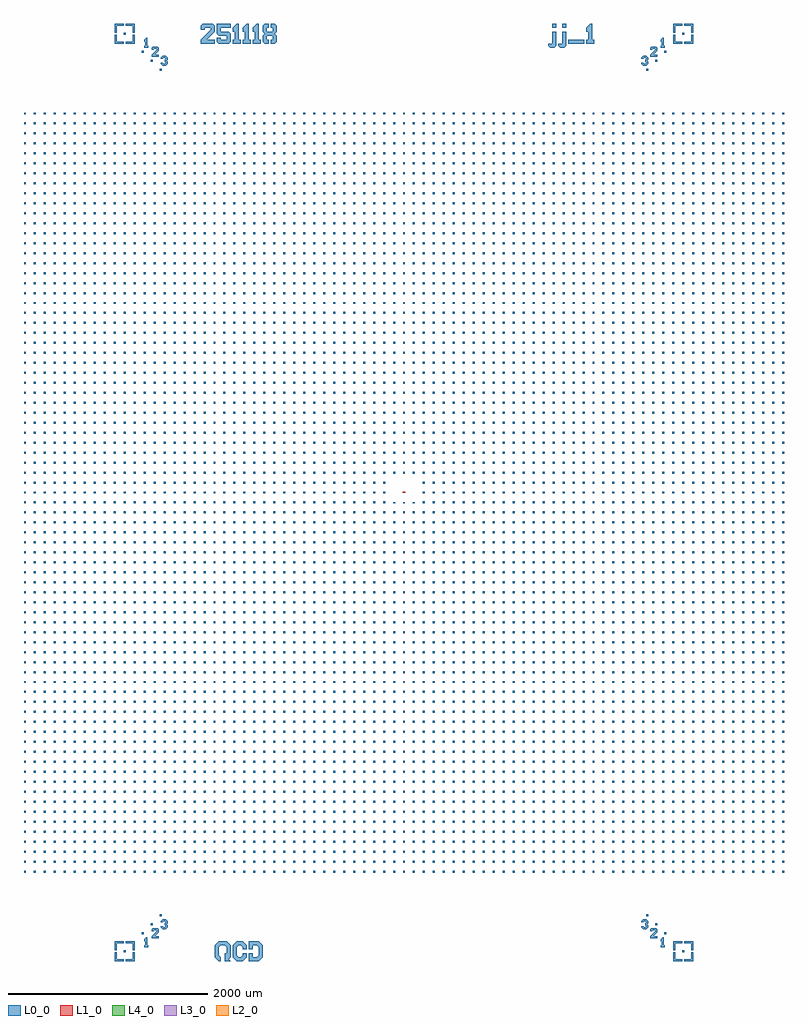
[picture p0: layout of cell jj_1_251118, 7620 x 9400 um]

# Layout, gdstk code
import gdstk
lib = gdstk.Library(unit=1e-6, precision=1e-09)
def R(c, l, rs):  # rectangles x0, y0, x1, y1
    for r in rs: c.add(gdstk.rectangle(r[:2], r[2:], *l))
def A(c, l, x, y, w, h, nx, ny, dx, dy):  # array of equal rectangles
    R(c, l, [(x+i*dx, y+j*dy, x+i*dx+w, y+j*dy+h) for i in range(nx) for j in range(ny)])
def P(c, l, *ps):  # polygons
    for p in ps: c.add(gdstk.Polygon(p, *l))
L0_0 = (0, 0)
L1_0 = (1, 0)
L2_0 = (2, 0)
L3_0 = (3, 0)
L4_0 = (4, 0)

remarks = lib.new_cell('remarks')
R(remarks, L0_0, [(-2810,-4610,-2790,-4590), (2790,-4610,2810,-4590), (-2630,-4430,-2610,-4410), (2610,-4430,2630,-4410), (-2540,-4340,-2520,-4320), (2520,-4340,2540,-4320), (-2450,-4250,-2430,-4230), (2430,-4250,2450,-4230), (-2450,4230,-2430,4250), (2430,4230,2450,4250), (-2540,4320,-2520,4340), (2520,4320,2540,4340), (-2630,4410,-2610,4430), (2610,4410,2630,4430), (1646.667,4500,1806.667,4540), (-2810,4590,-2790,4610), (2790,4590,2810,4610), (1486.667,4660,1526.667,4700), (1586.667,4660,1626.667,4700)])
P(remarks, L0_0, [(1466.667,4460),(1446.667,4480),(1446.667,4500),(1486.667,4500),(1486.667,4620),(1526.667,4620),(1526.667,4480),(1506.667,4460)],
  [(1566.667,4460),(1546.667,4480),(1546.667,4500),(1586.667,4500),(1586.667,4620),(1626.667,4620),(1626.667,4480),(1606.667,4460)],
  [(1826.667,4500),(1826.667,4540),(1846.667,4540),(1846.667,4620),(1826.667,4620),(1826.667,4660),(1866.667,4700),(1886.667,4700),(1886.667,4540),(1906.667,4540),(1906.667,4500)],
  [(-2036.667,4500),(-2036.667,4540),(-1936.667,4640),(-1936.667,4660),(-1996.667,4660),(-1996.667,4640),(-2036.667,4640),(-2036.667,4680),(-2016.667,4700),(-1916.667,4700),(-1896.667,4680),(-1896.667,4620),(-1976.667,4540),(-1896.667,4540),(-1896.667,4500)],
  [(-1856.667,4500),(-1876.667,4520),(-1876.667,4560),(-1836.667,4560),(-1836.667,4540),(-1776.667,4540),(-1776.667,4580),(-1856.667,4580),(-1876.667,4600),(-1876.667,4700),(-1736.667,4700),(-1736.667,4660),(-1836.667,4660),(-1836.667,4620),(-1756.667,4620),(-1736.667,4600),(-1736.667,4520),(-1756.667,4500)],
  [(-1716.667,4500),(-1716.667,4540),(-1696.667,4540),(-1696.667,4620),(-1716.667,4620),(-1716.667,4660),(-1676.667,4700),(-1656.667,4700),(-1656.667,4540),(-1636.667,4540),(-1636.667,4500)],
  [(-1616.667,4500),(-1616.667,4540),(-1596.667,4540),(-1596.667,4620),(-1616.667,4620),(-1616.667,4660),(-1576.667,4700),(-1556.667,4700),(-1556.667,4540),(-1536.667,4540),(-1536.667,4500)],
  [(-1516.667,4500),(-1516.667,4540),(-1496.667,4540),(-1496.667,4620),(-1516.667,4620),(-1516.667,4660),(-1476.667,4700),(-1456.667,4700),(-1456.667,4540),(-1436.667,4540),(-1436.667,4500)],
  [(-1396.667,4500),(-1416.667,4520),(-1416.667,4580),(-1396.667,4600),(-1416.667,4620),(-1416.667,4680),(-1396.667,4700),(-1356.667,4700),(-1356.667,4660),(-1376.667,4660),(-1376.667,4620),(-1316.667,4620),(-1316.667,4660),(-1336.667,4660),(-1336.667,4700),(-1296.667,4700),(-1276.667,4680),(-1276.667,4620),(-1296.667,4600),(-1276.667,4580),(-1276.667,4520),(-1296.667,4500),(-1336.667,4500),(-1336.667,4540),(-1316.667,4540),(-1316.667,4580),(-1376.667,4580),(-1376.667,4540),(-1356.667,4540),(-1356.667,4500)],
  [(-1856.667,-4700),(-1896.667,-4660),(-1896.667,-4540),(-1856.667,-4500),(-1776.667,-4500),(-1736.667,-4540),(-1736.667,-4660),(-1756.667,-4680),(-1736.667,-4700),(-1796.667,-4700),(-1796.667,-4620),(-1776.667,-4620),(-1776.667,-4560),(-1796.667,-4540),(-1836.667,-4540),(-1856.667,-4560),(-1856.667,-4640),(-1836.667,-4660),(-1836.667,-4700)],
  [(-1676.667,-4700),(-1716.667,-4660),(-1716.667,-4540),(-1676.667,-4500),(-1616.667,-4500),(-1576.667,-4540),(-1576.667,-4580),(-1616.667,-4580),(-1616.667,-4560),(-1636.667,-4540),(-1656.667,-4540),(-1676.667,-4560),(-1676.667,-4640),(-1656.667,-4660),(-1636.667,-4660),(-1616.667,-4640),(-1616.667,-4620),(-1576.667,-4620),(-1576.667,-4660),(-1616.667,-4700)],
  [(-1556.667,-4700),(-1556.667,-4620),(-1516.667,-4620),(-1516.667,-4660),(-1476.667,-4660),(-1456.667,-4640),(-1456.667,-4560),(-1476.667,-4540),(-1516.667,-4540),(-1516.667,-4580),(-1556.667,-4580),(-1556.667,-4500),(-1456.667,-4500),(-1416.667,-4540),(-1416.667,-4660),(-1456.667,-4700)],
  [(-2900,-4590),(-2900,-4500),(-2810,-4500),(-2810,-4520),(-2880,-4520),(-2880,-4590)],
  [(-2900,4500),(-2900,4590),(-2880,4590),(-2880,4520),(-2810,4520),(-2810,4500)],
  [(2810,4500),(2810,4520),(2880,4520),(2880,4590),(2900,4590),(2900,4500)],
  [(2880,-4590),(2880,-4520),(2810,-4520),(2810,-4500),(2900,-4500),(2900,-4590)],
  [(-2900,-4700),(-2900,-4610),(-2880,-4610),(-2880,-4680),(-2810,-4680),(-2810,-4700)],
  [(-2900,4610),(-2900,4700),(-2810,4700),(-2810,4680),(-2880,4680),(-2880,4610)],
  [(2880,4610),(2880,4680),(2810,4680),(2810,4700),(2900,4700),(2900,4610)],
  [(2810,-4700),(2810,-4680),(2880,-4680),(2880,-4610),(2900,-4610),(2900,-4700)],
  [(-2790,-4700),(-2790,-4680),(-2720,-4680),(-2720,-4610),(-2700,-4610),(-2700,-4700)],
  [(-2720,4610),(-2720,4680),(-2790,4680),(-2790,4700),(-2700,4700),(-2700,4610)],
  [(2700,4610),(2700,4700),(2790,4700),(2790,4680),(2720,4680),(2720,4610)],
  [(2700,-4700),(2700,-4610),(2720,-4610),(2720,-4680),(2790,-4680),(2790,-4700)],
  [(-2720,-4590),(-2720,-4520),(-2790,-4520),(-2790,-4500),(-2700,-4500),(-2700,-4590)],
  [(-2790,4500),(-2790,4520),(-2720,4520),(-2720,4590),(-2700,4590),(-2700,4500)],
  [(2700,4500),(2700,4590),(2720,4590),(2720,4520),(2790,4520),(2790,4500)],
  [(2700,-4590),(2700,-4500),(2790,-4500),(2790,-4520),(2720,-4520),(2720,-4590)],
  [(-2605,-4560),(-2605,-4540),(-2595,-4540),(-2595,-4500),(-2605,-4500),(-2605,-4480),(-2585,-4460),(-2575,-4460),(-2575,-4540),(-2565,-4540),(-2565,-4560)],
  [(-2605,4460),(-2605,4480),(-2595,4480),(-2595,4520),(-2605,4520),(-2605,4540),(-2585,4560),(-2575,4560),(-2575,4480),(-2565,4480),(-2565,4460)],
  [(2575,4460),(2575,4480),(2585,4480),(2585,4520),(2575,4520),(2575,4540),(2595,4560),(2605,4560),(2605,4480),(2615,4480),(2615,4460)],
  [(2575,-4560),(2575,-4540),(2585,-4540),(2585,-4500),(2575,-4500),(2575,-4480),(2595,-4460),(2605,-4460),(2605,-4540),(2615,-4540),(2615,-4560)],
  [(-2530,-4470),(-2530,-4450),(-2480,-4400),(-2480,-4390),(-2510,-4390),(-2510,-4400),(-2530,-4400),(-2530,-4380),(-2520,-4370),(-2470,-4370),(-2460,-4380),(-2460,-4410),(-2500,-4450),(-2460,-4450),(-2460,-4470)],
  [(-2530,4370),(-2530,4390),(-2480,4440),(-2480,4450),(-2510,4450),(-2510,4440),(-2530,4440),(-2530,4460),(-2520,4470),(-2470,4470),(-2460,4460),(-2460,4430),(-2500,4390),(-2460,4390),(-2460,4370)],
  [(2470,4370),(2470,4390),(2520,4440),(2520,4450),(2490,4450),(2490,4440),(2470,4440),(2470,4460),(2480,4470),(2530,4470),(2540,4460),(2540,4430),(2500,4390),(2540,4390),(2540,4370)],
  [(2470,-4470),(2470,-4450),(2520,-4400),(2520,-4390),(2490,-4390),(2490,-4400),(2470,-4400),(2470,-4380),(2480,-4370),(2530,-4370),(2540,-4380),(2540,-4410),(2500,-4450),(2540,-4450),(2540,-4470)],
  [(-2420,-4380),(-2440,-4360),(-2440,-4350),(-2420,-4350),(-2410,-4360),(-2400,-4360),(-2390,-4350),(-2400,-4340),(-2400,-4320),(-2390,-4310),(-2400,-4300),(-2410,-4300),(-2420,-4310),(-2440,-4310),(-2440,-4300),(-2420,-4280),(-2390,-4280),(-2370,-4300),(-2370,-4320),(-2380,-4330),(-2370,-4340),(-2370,-4360),(-2390,-4380)],
  [(-2420,4280),(-2440,4300),(-2440,4310),(-2420,4310),(-2410,4300),(-2400,4300),(-2390,4310),(-2400,4320),(-2400,4340),(-2390,4350),(-2400,4360),(-2410,4360),(-2420,4350),(-2440,4350),(-2440,4360),(-2420,4380),(-2390,4380),(-2370,4360),(-2370,4340),(-2380,4330),(-2370,4320),(-2370,4300),(-2390,4280)],
  [(2400,4280),(2380,4300),(2380,4310),(2400,4310),(2410,4300),(2420,4300),(2430,4310),(2420,4320),(2420,4340),(2430,4350),(2420,4360),(2410,4360),(2400,4350),(2380,4350),(2380,4360),(2400,4380),(2430,4380),(2450,4360),(2450,4340),(2440,4330),(2450,4320),(2450,4300),(2430,4280)],
  [(2400,-4380),(2380,-4360),(2380,-4350),(2400,-4350),(2410,-4360),(2420,-4360),(2430,-4350),(2420,-4340),(2420,-4320),(2430,-4310),(2420,-4300),(2410,-4300),(2400,-4310),(2380,-4310),(2380,-4300),(2400,-4280),(2430,-4280),(2450,-4300),(2450,-4320),(2440,-4330),(2450,-4340),(2450,-4360),(2430,-4380)])

nb_inv = lib.new_cell('Nb_inv')
P(nb_inv, L1_0, [(-12,0),(-12,8),(1.1,8),(1.1,5.6),(4.1,5.6),(4.1,8),(12,8),(12,0),(-1.1,0),(-1.1,3.4),(-4.1,3.4),(-4.1,0)])

jj1 = lib.new_cell('JJ1')
R(jj1, L2_0, [(0.4,2.9,0.6,6.6), (-2.1,3.9,1.6,4.1)])

ghost1 = lib.new_cell('Ghost1')
R(ghost1, L3_0, [(0.3,2.1,0.7,3.1), (-2.9,3.8,-1.9,4.2), (1.4,3.8,2.4,4.2), (0.3,6.4,0.7,7.4)])

patch = lib.new_cell('Patch')
R(patch, L4_0, [(-2.6,1.9,-1.1,4.6), (-0.1,5.6,2.6,7.1)])

unnamed_46 = lib.new_cell('Unnamed_46')
A(unnamed_46, L0_0, -3810, -3810, 20, 20, 77, 37, 100, 100)
A(unnamed_46, L0_0, -3810, -110, 20, 20, 37, 3, 100, 100)
A(unnamed_46, L0_0, -110, -110, 20, 10, 3, 1, 100, 0)
A(unnamed_46, L0_0, 190, -110, 20, 20, 37, 3, 100, 100)
A(unnamed_46, L0_0, -110, 108, 20, 2, 3, 1, 100, 0)
A(unnamed_46, L0_0, -3810, 190, 20, 20, 77, 37, 100, 100)

jj_1_251118 = lib.new_cell('jj_1_251118')
jj_1_251118.add(gdstk.Reference(remarks, (0,0)))
jj_1_251118.add(gdstk.Reference(nb_inv, (0,0)))
jj_1_251118.add(gdstk.Reference(jj1, (0,0)))
jj_1_251118.add(gdstk.Reference(ghost1, (0,0)))
jj_1_251118.add(gdstk.Reference(patch, (0,0)))
jj_1_251118.add(gdstk.Reference(unnamed_46, (0,0)))

lib.write_gds('jj_1_251118.gds')
